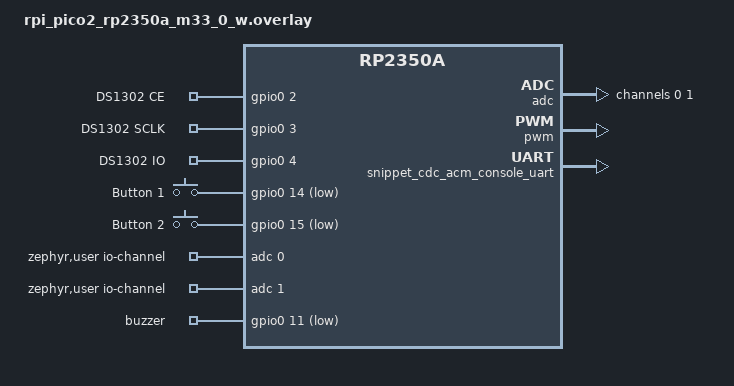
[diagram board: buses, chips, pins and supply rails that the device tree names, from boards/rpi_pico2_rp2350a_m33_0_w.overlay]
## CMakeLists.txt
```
#pico-zephyr-project
#-------------------------------------------------------------------------------
# Zephyr Example Application
#
# Copyright (c) 2021 Nordic Semiconductor ASA
# SPDX-License-Identifier: Apache-2.0
#-------------------------------------------------------------------------------
# NOTE: Please do not remove the #pico-zephyr-project header, it is used by
# the Raspberry Pi Pico VS Code extension to identify the project type.
#-------------------------------------------------------------------------------

cmake_minimum_required(VERSION 3.20.0)

find_package(Zephyr REQUIRED HINTS $ENV{ZEPHYR_BASE})
project(pico-clock LANGUAGES C)

target_sources(app PRIVATE
    src/main.c
    src/aip33628.c
    src/buttons.c
    src/ds1302.c
    src/hu058.c
    src/lightsensor.c
    src/settings.c
    src/speaker.c
    src/thermistor.c
)

target_sources_ifdef(CONFIG_WIFI app PRIVATE
    src/ntp.c
    src/wifista.c
    src/wifisetup.c
    src/httpserver.c
    src/webconfig.c
)
```

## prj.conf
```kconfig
CONFIG_GPIO=y
CONFIG_ADC=y
CONFIG_PWM=y
CONFIG_PICOLIBC=y

# Shell over USB serial (disabled during debug)
# CONFIG_SHELL=y
# CONFIG_SHELL_BACKEND_SERIAL=y

# Logging — console is USB CDC ACM (build with -S cdc-acm-console).
# Deferred mode buffers log lines so a slow or absent host doesn't drop them.
CONFIG_LOG=y
CONFIG_LOG_MODE_DEFERRED=y
CONFIG_LOG_BUFFER_SIZE=4096
CONFIG_LOG_PROCESS_THREAD=y
CONFIG_LOG_PRINTK=n
CONFIG_LOG_BACKEND_UART=y
CONFIG_UART_CONSOLE=y
CONFIG_CONSOLE=y
CONFIG_UART_LINE_CTRL=y

# WiFi (Infineon CYW43439 / Murata 1YN on Pico W / Pico 2 W)
CONFIG_WIFI=y
CONFIG_WIFI_AIROC=y
CONFIG_CYW43439_MURATA_1YN=y
CONFIG_NET_L2_WIFI_MGMT=y

# Networking
CONFIG_NETWORKING=y
CONFIG_NET_SOCKETS=y
CONFIG_NET_IPV4=y
CONFIG_NET_UDP=y
CONFIG_NET_TCP=y
CONFIG_NET_DHCPV4=y
CONFIG_NET_CONFIG_SETTINGS=y
CONFIG_DNS_RESOLVER=y
CONFIG_SNTP=y
CONFIG_TEST_RANDOM_GENERATOR=y

# Console input for WiFi setup — uses uart_poll_in() directly

CONFIG_THREAD_CUSTOM_DATA=y

# Stack sizes — defaults are too small for WiFi + networking + shell
CONFIG_MAIN_STACK_SIZE=4096
CONFIG_SYSTEM_WORKQUEUE_STACK_SIZE=2048

# main() waits up to CONSOLE_WAIT_MS for a host to open the USB console

# Debug — fault diagnostics
CONFIG_THREAD_NAME=y
CONFIG_FAULT_DUMP=2

# NVS storage
CONFIG_FLASH=y
CONFIG_FLASH_MAP=y
CONFIG_FLASH_PAGE_LAYOUT=y
CONFIG_NVS=y
```

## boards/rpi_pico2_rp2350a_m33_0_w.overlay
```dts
/*
 * HU-058 clock — Pico 2 W devicetree overlay.
 *
 * PIO pins (AiP33628 DIN/CLK) are configured at runtime via
 * pico-sdk PIO API, not devicetree.
 */

/ {
	ds1302 {
		compatible = "gpio-keys";
		ce: ce_pin {
			gpios = <&gpio0 2 GPIO_ACTIVE_HIGH>;
			label = "DS1302 CE";
		};
		sclk: sclk_pin {
			gpios = <&gpio0 3 GPIO_ACTIVE_HIGH>;
			label = "DS1302 SCLK";
		};
		io: io_pin {
			gpios = <&gpio0 4 GPIO_ACTIVE_HIGH>;
			label = "DS1302 IO";
		};
	};

	buttons {
		compatible = "gpio-keys";
		btn1: button_1 {
			gpios = <&gpio0 14 (GPIO_PULL_UP | GPIO_ACTIVE_LOW)>;
			label = "Button 1";
		};
		btn2: button_2 {
			gpios = <&gpio0 15 (GPIO_PULL_UP | GPIO_ACTIVE_LOW)>;
			label = "Button 2";
		};
	};

	zephyr,user {
		io-channels = <&adc 0>, <&adc 1>;
	};

	buzzer_dev {
		compatible = "gpio-leds";
		buzzer: buzzer_pin {
			gpios = <&gpio0 11 GPIO_ACTIVE_LOW>;
		};
	};

	aliases {
		ds1302-ce = &ce;
		ds1302-sclk = &sclk;
		ds1302-io = &io;
		button1 = &btn1;
		button2 = &btn2;
	};
};


&adc {
	#address-cells = <1>;
	#size-cells = <0>;
	status = "okay";

	/* Thermistor on ADC channel 0 (GP26) */
	channel@0 {
		reg = <0>;
		zephyr,gain = "ADC_GAIN_1";
		zephyr,reference = "ADC_REF_INTERNAL";
		zephyr,acquisition-time = <ADC_ACQ_TIME_DEFAULT>;
		zephyr,resolution = <12>;
	};

	/* Light sensor on ADC channel 1 (GP27) */
	channel@1 {
		reg = <1>;
		zephyr,gain = "ADC_GAIN_1";
		zephyr,reference = "ADC_REF_INTERNAL";
		zephyr,acquisition-time = <ADC_ACQ_TIME_DEFAULT>;
		zephyr,resolution = <12>;
	};
};

&pwm {
	status = "okay";
	pinctrl-0 = <&pwm_ch4b_default>;
	pinctrl-names = "default";
};

&zephyr_udc0 {
	snippet_cdc_acm_console_uart: snippet_cdc_acm_console_uart {
		compatible = "zephyr,cdc-acm-uart";
		tx-fifo-size = <4096>;
	};
};

/* NVS storage partition — 24 KB at end of 4 MB flash */
&flash0 {
	partitions {
		compatible = "fixed-partitions";
		#address-cells = <1>;
		#size-cells = <1>;

		storage_partition: partition@3fa000 {
			label = "storage";
			reg = <0x3fa000 0x6000>;
		};
	};
};
```

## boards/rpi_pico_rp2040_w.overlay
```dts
/*
 * HU-058 clock — Pico W devicetree overlay.
 *
 * PIO pins (AiP33628 DIN/CLK) are configured at runtime via
 * pico-sdk PIO API, not devicetree.
 */

/ {
	ds1302 {
		compatible = "gpio-keys";
		ce: ce_pin {
			gpios = <&gpio0 2 GPIO_ACTIVE_HIGH>;
			label = "DS1302 CE";
		};
		sclk: sclk_pin {
			gpios = <&gpio0 3 GPIO_ACTIVE_HIGH>;
			label = "DS1302 SCLK";
		};
		io: io_pin {
			gpios = <&gpio0 4 GPIO_ACTIVE_HIGH>;
			label = "DS1302 IO";
		};
	};

	buttons {
		compatible = "gpio-keys";
		btn1: button_1 {
			gpios = <&gpio0 14 (GPIO_PULL_UP | GPIO_ACTIVE_LOW)>;
			label = "Button 1";
		};
		btn2: button_2 {
			gpios = <&gpio0 15 (GPIO_PULL_UP | GPIO_ACTIVE_LOW)>;
			label = "Button 2";
		};
	};

	zephyr,user {
		io-channels = <&adc 0>, <&adc 1>;
	};

	buzzer_dev {
		compatible = "gpio-leds";
		buzzer: buzzer_pin {
			gpios = <&gpio0 11 GPIO_ACTIVE_LOW>;
		};
	};

	aliases {
		ds1302-ce = &ce;
		ds1302-sclk = &sclk;
		ds1302-io = &io;
		button1 = &btn1;
		button2 = &btn2;
	};
};


&adc {
	#address-cells = <1>;
	#size-cells = <0>;
	status = "okay";

	/* Thermistor on ADC channel 0 (GP26) */
	channel@0 {
		reg = <0>;
		zephyr,gain = "ADC_GAIN_1";
		zephyr,reference = "ADC_REF_INTERNAL";
		zephyr,acquisition-time = <ADC_ACQ_TIME_DEFAULT>;
		zephyr,resolution = <12>;
	};

	/* Light sensor on ADC channel 1 (GP27) */
	channel@1 {
		reg = <1>;
		zephyr,gain = "ADC_GAIN_1";
		zephyr,reference = "ADC_REF_INTERNAL";
		zephyr,acquisition-time = <ADC_ACQ_TIME_DEFAULT>;
		zephyr,resolution = <12>;
	};
};

&pwm {
	status = "okay";
	pinctrl-0 = <&pwm_ch4b_default>;
	pinctrl-names = "default";
};

&zephyr_udc0 {
	snippet_cdc_acm_console_uart: snippet_cdc_acm_console_uart {
		compatible = "zephyr,cdc-acm-uart";
		tx-fifo-size = <4096>;
	};
};

/* NVS storage partition — 24 KB at end of 2 MB flash */
&flash0 {
	partitions {
		compatible = "fixed-partitions";
		#address-cells = <1>;
		#size-cells = <1>;

		storage_partition: partition@1fa000 {
			label = "storage";
			reg = <0x1fa000 0x6000>;
		};
	};
};
```

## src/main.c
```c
#include <zephyr/kernel.h>
#include <zephyr/sys/printk.h>
#include <zephyr/logging/log.h>
#include <zephyr/drivers/gpio.h>
#include <zephyr/drivers/uart.h>

#include "settings.h"
#include "ds1302.h"
#include "hu058.h"
#include "aip33628.h"
#include "thermistor.h"
#include "lightsensor.h"
#include "speaker.h"
#include "buttons.h"
#include <pico/bootrom.h>
#if IS_ENABLED(CONFIG_WIFI)
#include "ntp.h"
#include "wifista.h"
#include "wifisetup.h"
#include "webconfig.h"
#include <zephyr/net/net_if.h>
#include <zephyr/net/net_ip.h>
#endif

LOG_MODULE_REGISTER(main, LOG_LEVEL_INF);

/* PIO pin assignments for the two AiP33628 LED drivers. */
#define AIP_HOURS_DIN   6
#define AIP_HOURS_CLK   7
#define AIP_MINUTES_DIN 8
#define AIP_MINUTES_CLK 9
#define AIP_PIO_FREQ_HZ 1000000

/* How long to wait at boot for a host to open the USB CDC console. */
#define CONSOLE_WAIT_MS 3000

/* ADC channel specs from devicetree (zephyr,user node). */
static const struct adc_dt_spec adc_therm = ADC_DT_SPEC_GET_BY_IDX(DT_PATH(zephyr_user), 0);
static const struct adc_dt_spec adc_light = ADC_DT_SPEC_GET_BY_IDX(DT_PATH(zephyr_user), 1);

/* Peripheral instances. */
static ds1302_t rtc = {
	.ce   = GPIO_DT_SPEC_GET(DT_ALIAS(ds1302_ce),   gpios),
	.sclk = GPIO_DT_SPEC_GET(DT_ALIAS(ds1302_sclk), gpios),
	.io   = GPIO_DT_SPEC_GET(DT_ALIAS(ds1302_io),   gpios),
};

static thermistor_config_t therm_cfg = {
	.r_pullup  = 10000.0f,
	.r_nominal = 10000.0f,
	.t_nominal = 25.0f,
	.beta      = 3950.0f,
};

static lightsensor_config_t light_cfg = {
	.r_pullup = 10000.0f,
};

static speaker_t speaker = {
	.gpio = GPIO_DT_SPEC_GET(DT_NODELABEL(buzzer), gpios),
};

static const buttons_config_t btn_cfg = {
	.btn1 = GPIO_DT_SPEC_GET(DT_ALIAS(button1), gpios),
	.btn2 = GPIO_DT_SPEC_GET(DT_ALIAS(button2), gpios),
};

static aip33628_t drv_hours;
static aip33628_t drv_minutes;
static hu058_display_t display;

static settings_t settings;

/* Display scan timer — four phases at ~1.6 kHz = 400 Hz refresh. */
static void scan_timer_handler(struct k_timer *timer);
K_TIMER_DEFINE(scan_timer, scan_timer_handler, NULL);

static void scan_timer_handler(struct k_timer *timer)
{
	ARG_UNUSED(timer);
	hu058_scan_step(&display);
}

#if IS_ENABLED(CONFIG_WIFI)
static volatile bool wifi_reconfig_requested;
#endif
static volatile bool show_temp;

static void on_button(button_event_t event)
{
	switch (event) {
	case BUTTON_1_PRESS:
		LOG_INF("Button 1 pressed");
		break;
	case BUTTON_1_HELD:
		LOG_INF("Button 1 held");
#if IS_ENABLED(CONFIG_WIFI)
		wifi_reconfig_requested = true;
#endif
		break;
	case BUTTON_2_PRESS:
		LOG_INF("Button 2 pressed");
		show_temp = !show_temp;
		break;
	case BUTTON_BOTH_HELD:
		k_timer_stop(&scan_timer);
		for (int i = 0; i < HU058_NUM_DIGITS; i++) {
			hu058_set_digit_color(&display, i, HU058_COLOR_RED);
		}
		for (int i = 0; i < HU058_NUM_ANN; i++) {
			hu058_set_ann_color(&display, i, HU058_COLOR_RED);
		}
		hu058_set_segments(&display, HU058_H_TENS,
				   HU058_SEG_C | HU058_SEG_D | HU058_SEG_E |
				   HU058_SEG_F | HU058_SEG_G);
		hu058_set_segments(&display, HU058_H_ONES,
				   HU058_SEG_C | HU058_SEG_D | HU058_SEG_E |
				   HU058_SEG_G);
		hu058_set_segments(&display, HU058_M_TENS,
				   HU058_SEG_C | HU058_SEG_D | HU058_SEG_E |
				   HU058_SEG_G);
		hu058_set_segments(&display, HU058_M_ONES,
				   HU058_SEG_D | HU058_SEG_E | HU058_SEG_F |
				   HU058_SEG_G);
		hu058_set_ann(&display, HU058_ANN_COLON_UPPER, false);
		hu058_set_ann(&display, HU058_ANN_COLON_LOWER, false);
		hu058_compile(&display);
		/* Manually drive the display — scan timer ISR can't fire
		   while we're already in ISR context. */
		for (int rep = 0; rep < 320; rep++) {
			hu058_scan_step(&display);
			k_busy_wait(625);
		}
		reset_usb_boot(0, 0);
		break;
	default:
		break;
	}
}

#if IS_ENABLED(CONFIG_WIFI)
static bool wait_for_dhcp(int timeout_sec)
{
	struct net_if *iface = net_if_get_default();

	for (int i = 0; i < timeout_sec * 10; i++) {
		struct net_in_addr *addr =
			net_if_ipv4_get_global_addr(iface, NET_ADDR_PREFERRED);
		if (addr) {
			printk("IP: %u.%u.%u.%u\n",
			       addr->s4_addr[0], addr->s4_addr[1],
			       addr->s4_addr[2], addr->s4_addr[3]);
			return true;
		}
		k_msleep(100);
	}
	return false;
}

static void apply_display_settings(hu058_display_t *disp, const settings_t *s)
{
	hu058_set_brightness(disp, s->brightness);
	hu058_set_time_format(disp, s->time_24h ? HU058_24H : HU058_12H);

	hu058_color_t color = {
		.r = s->led_r,
		.g = s->led_g,
		.b = s->led_b,
	};
	for (int i = 0; i < HU058_NUM_DIGITS; i++) {
		hu058_set_digit_color(disp, i, color);
	}
	for (int i = 0; i < HU058_NUM_ANN; i++) {
		hu058_set_ann_color(disp, i, color);
	}
}

static void on_settings_saved(const settings_t *s)
{
	settings_save(s);
	apply_display_settings(&display, s);
	hu058_compile(&display);
	printk("Settings saved via web UI\n");
}

static void wifi_connect_and_sync(settings_t *s, ds1302_t *rtc_dev)
{
	int ret;

	if (s->wifi_ssid[0] != '\0') {
		printk("Connecting to %s...\n", s->wifi_ssid);
		ret = wifista_connect(s->wifi_ssid, s->wifi_pass);
		if (ret == 0) {
			printk("Connected!\n");
		} else {
			printk("Failed (%d). Starting WiFi setup.\n", ret);
			wifisetup_run(s);
		}
	} else {
		wifisetup_run(s);
	}

	printk("Waiting for DHCP...\n");
	if (!wait_for_dhcp(15)) {
		printk("DHCP timed out.\n");
		return;
	}

	const char *ntp_srv = s->ntp_server[0] ? s->ntp_server : "pool.ntp.org";
	ntp_config_t ntp_cfg = {
		.server = ntp_srv,
		.utc_offset_sec = s->utc_offset_sec,
		.timeout_ms = 5000,
	};
	ds1302_time_t ntp_time;

	printk("Syncing time from %s...\n", ntp_srv);
	ret = ntp_sync(&ntp_cfg, &ntp_time);
	if (ret == 0) {
		ds1302_set_time(rtc_dev, &ntp_time);
		printk("Time set: %02u:%02u:%02u\n",
		       ntp_time.hours, ntp_time.minutes, ntp_time.seconds);
	} else {
		printk("NTP sync failed (%d), using RTC time.\n", ret);
	}

	ret = webconfig_start(s, on_settings_saved);
	if (ret == 0) {
		struct net_in_addr *addr =
			net_if_ipv4_get_global_addr(net_if_get_default(),
						    NET_ADDR_PREFERRED);
		if (addr) {
			printk("Settings: http://%u.%u.%u.%u/\n",
			       addr->s4_addr[0], addr->s4_addr[1],
			       addr->s4_addr[2], addr->s4_addr[3]);
		}
	} else {
		printk("Web config failed (%d)\n", ret);
	}
}
#endif

/*
 * Wait for a host to open the USB CDC console (DTR asserted) so boot logs
 * aren't lost. Gives up after CONSOLE_WAIT_MS so the clock still runs
 * standalone.
 */
static void wait_for_console(void)
{
	const struct device *console = DEVICE_DT_GET(DT_CHOSEN(zephyr_console));
	uint32_t dtr = 0;

	if (!device_is_ready(console)) {
		return;
	}

	for (int ms = 0; ms < CONSOLE_WAIT_MS; ms += 100) {
		if (uart_line_ctrl_get(console, UART_LINE_CTRL_DTR, &dtr) == 0 && dtr) {
			k_msleep(200);
			break;
		}
		k_msleep(100);
	}
}

int main(void)
{
	int ret;

	wait_for_console();

	printk("[main] settings_load\n");
	ret = settings_load(&settings);
	if (ret < 0) {
		printk("[main] No saved settings, using defaults\n");
	}

	printk("[main] ds1302_init\n");
	ret = ds1302_init(&rtc);
	if (ret < 0) {
		printk("[main] ds1302_init failed: %d\n", ret);
	}

	therm_cfg.adc = adc_therm;
	light_cfg.adc = adc_light;
	printk("[main] thermistor_init\n");
	ret = thermistor_init(&therm_cfg);
	if (ret < 0) {
		printk("[main] thermistor_init failed: %d\n", ret);
	}

	printk("[main] lightsensor_init\n");
	ret = lightsensor_init(&light_cfg);
	if (ret < 0) {
		printk("[main] lightsensor_init failed: %d\n", ret);
	}

	printk("[main] speaker_init\n");
	ret = speaker_init(&speaker);
	if (ret < 0) {
		printk("[main] speaker_init failed: %d\n", ret);
	}

	printk("[main] buttons_init\n");
	ret = buttons_init(&btn_cfg, on_button);
	if (ret < 0) {
		printk("[main] buttons_init failed: %d\n", ret);
	}

	printk("[main] aip33628_init hours\n");
	ret = aip33628_init(&drv_hours, pio1, 0,
			    AIP_HOURS_DIN, AIP_HOURS_CLK, AIP_PIO_FREQ_HZ);
	if (ret < 0) {
		LOG_ERR("aip33628_init hours failed: %d", ret);
	}

	printk("[main] aip33628_init minutes\n");
	ret = aip33628_init(&drv_minutes, pio1, 1,
			    AIP_MINUTES_DIN, AIP_MINUTES_CLK, AIP_PIO_FREQ_HZ);
	if (ret < 0) {
		printk("[main] aip33628_init minutes failed: %d\n", ret);
	}

	printk("[main] lamp test start\n");
	for (int rep = 0; rep < 3000; rep++) {
		for (int phase = 0; phase < 4; phase++) {
			static const uint8_t com_test[4] = {0x03, 0x0C, 0x30, 0xC0};
			aip33628_write(&drv_hours, 0x9248, com_test[phase], 5);
			aip33628_write(&drv_minutes, 0x9248, com_test[phase], 5);
			k_usleep(625);
		}
	}
	printk("[main] lamp test end\n");

	hu058_init(&display, &drv_hours, &drv_minutes);
	apply_display_settings(&display, &settings);

	ds1302_time_t now;
	ds1302_get_time(&rtc, &now);
	hu058_set_time(&display, now.hours, now.minutes);
	hu058_set_ann(&display, HU058_ANN_COLON_UPPER, true);
	hu058_set_ann(&display, HU058_ANN_COLON_LOWER, true);
	hu058_compile(&display);

	k_timer_start(&scan_timer, K_USEC(625), K_USEC(625));

	printk("[main] display ready\n");

#if IS_ENABLED(CONFIG_WIFI)
	printk("[main] wifi_connect_and_sync\n");
	wifi_connect_and_sync(&settings, &rtc);
	printk("[main] wifi done\n");
#endif

	speaker_beep(&speaker, 1000, 100);

	printk("[main] entering main loop\n");

	while (1) {
#if IS_ENABLED(CONFIG_WIFI)
		if (wifi_reconfig_requested) {
			wifi_reconfig_requested = false;
			webconfig_stop();
			wifista_disconnect();
			settings.wifi_ssid[0] = '\0';
			settings.wifi_pass[0] = '\0';
			wifi_connect_and_sync(&settings, &rtc);
		}
#endif
		if (show_temp) {
			float temp_c = thermistor_read_c(&therm_cfg);
			temp_c += (float)settings.temp_offset_tenths / 10.0f;
			int16_t temp_val;
			if (settings.fahrenheit) {
				temp_val = (int16_t)(temp_c * 9.0f / 5.0f + 32.0f + 0.5f);
			} else {
				temp_val = (int16_t)(temp_c + (temp_c >= 0 ? 0.5f : -0.5f));
			}
			hu058_set_temperature(&display, temp_val, settings.fahrenheit);
		} else {
			ds1302_get_time(&rtc, &now);
			hu058_set_time(&display, now.hours, now.minutes);
		}

		hu058_compile(&display);

		k_sleep(K_SECONDS(1));
	}

	return 0;
}
```

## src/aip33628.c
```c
#include "aip33628.h"
#include "aip33628.pio.h"
#include "hardware/pio.h"

/**
 * Reverse the bottom @n bits of @v.
 * Bits above position n-1 in the result are zero.
 */
static uint32_t reverse_bits(uint32_t v, uint n)
{
    uint32_t r = 0;
    for (uint i = 0; i < n; i++) {
        r |= ((v >> i) & 1u) << (n - 1 - i);
    }
    return r;
}

/**
 * Reverse the 4-bit current field per the AiP33628 datasheet.
 * Logical level 1 → wire value 0x8, level 2 → 0x4, etc.
 */
static uint8_t reverse_current(uint8_t current)
{
    return (uint8_t)reverse_bits(current & 0x0Fu, 4);
}

int aip33628_init(aip33628_t *dev, PIO pio, uint sm,
                  uint pin_din, uint pin_clk, float freq_hz)
{
    if (!pio_can_add_program(pio, &aip33628_program))
        return -1;

    uint offset = pio_add_program(pio, &aip33628_program);
    aip33628_program_init(pio, sm, offset, pin_din, pin_clk, freq_hz);

    dev->pio = pio;
    dev->sm  = sm;

    return 0;
}

void aip33628_write(aip33628_t *dev, uint16_t segments,
                    uint8_t commons, uint8_t current)
{
    /*
     * Pack the 30-bit frame in the spec's LSB-first layout:
     *
     *   Bit  0-15  SS[15:0]  segment on/off
     *   Bit 16-23  CS[7:0]   common anode drivers
     *   Bit 24-27  IS[3:0]   current level (bit-reversed on wire)
     *   Bit 28-29  reserved  must be 0
     */
    uint32_t frame = (uint32_t)(segments & 0xFFFFu)
                   | ((uint32_t)(commons & 0xFFu) << 16)
                   | ((uint32_t)reverse_current(current) << 24);

    aip33628_write_raw(dev, frame);
}

void aip33628_write_raw(aip33628_t *dev, uint32_t frame)
{
    uint32_t word = reverse_bits(frame & 0x3FFFFFFFu, 30);
    if (!pio_sm_is_tx_fifo_full(dev->pio, dev->sm)) {
        pio_sm_put(dev->pio, dev->sm, word);
    }
}
```

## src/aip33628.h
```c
#ifndef AIP33628_H
#define AIP33628_H

#include <stdint.h>
#include "hardware/pio.h"

/**
 * AiP33628 driver instance.
 *
 * Each instance owns one PIO state machine and drives one AiP33628 chip
 * over two GPIO pins (DIN and CLK).
 */
typedef struct {
    PIO pio;
    uint sm;
} aip33628_t;

/**
 * aip33628_init - Set up a PIO state machine to drive an AiP33628.
 *
 * @dev:      Driver instance to initialise.
 * @pio:      PIO block (pio0 or pio1).
 * @sm:       State machine index (0-3).
 * @pin_din:  GPIO number for the data line (DIN).
 * @pin_clk:  GPIO number for the clock line (CLK).
 * @freq_hz:  PIO clock frequency in Hz.
 *            Minimum ~30 kHz (display flicker).
 *            Maximum ~3 MHz (latch reliability).
 *
 * @return 0 on success, -1 if the PIO program could not be loaded.
 *
 * The function loads the PIO program, configures the state machine for
 * MSB-first output with 1-bit side-set, and starts the state machine.
 * After init the state machine idles waiting for data in the TX FIFO.
 *
 * Call this at least 200 us after chip power-on (AiP33628 ignores
 * data during its internal reset window).
 */
int aip33628_init(aip33628_t *dev, PIO pio, uint sm,
                  uint pin_din, uint pin_clk, float freq_hz);

/**
 * aip33628_write - Send a display frame to the AiP33628.
 *
 * @dev:      Initialised driver instance.
 * @segments: SEG outputs SS[15:0] — one bit per segment pin.
 * @commons:  COM anode drivers CS[7:0] — one bit per common pin.
 * @current:  LED drive current level 0-15 (0 = off, 15 = max).
 *
 * Packs the three fields into the AiP33628's 30-bit frame format,
 * reverses the bit order from the spec's LSB-first layout to the
 * MSB-first order required by the PIO program, and writes the
 * resulting 32-bit word to the TX FIFO.
 *
 * The current level is internally bit-reversed per the AiP33628
 * datasheet (IS[3:0] uses reverse-bit mapping on the wire).
 *
 * This call blocks if the TX FIFO is full.
 *
 * The segments parameter maps directly to the AiP33628's 16 SEG
 * output pins (SS[15:0]).  The commons parameter maps to the 8 COM
 * output pins (CS[7:0]).  How these pins are wired on a particular
 * PCB is board-specific — see hu058.h for the HU-058 clock board.
 */
void aip33628_write(aip33628_t *dev, uint16_t segments,
                    uint8_t commons, uint8_t current);

/**
 * aip33628_write_raw - Send a pre-packed 30-bit frame.
 *
 * @dev:    Initialised driver instance.
 * @frame:  30-bit frame in AiP33628 wire order (LSB-first layout,
 *          bits 31-30 ignored). The function handles the MSB-first
 *          reversal for the PIO.
 *
 * Use this when you have already packed the segment, common, and
 * current fields yourself. Blocks if the TX FIFO is full.
 */
void aip33628_write_raw(aip33628_t *dev, uint32_t frame);

#endif
```

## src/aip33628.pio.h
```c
/*
 * Auto-generated from aip33628.pio -- hand-assembled for use without pioasm.
 */

#pragma once

#if !PICO_NO_HARDWARE
#include "hardware/pio.h"
#endif

#define aip33628_wrap_target 0
#define aip33628_wrap 12

static const uint16_t aip33628_program_instructions[] = {
    0x88a0, /*  0: pull   block           side 0 [8] */
    0xe101, /*  1: set    pins, 1         side 0 [1] */
    0xe000, /*  2: set    pins, 0         side 0     */
    0x6042, /*  3: out    y, 2            side 0     */
    0xe05d, /*  4: set    y, 29           side 0     */
    0xa042, /*  5: nop                    side 0     */
    0x6001, /*  6: out    pins, 1         side 0     */
    0xb042, /*  7: nop                    side 1     */
    0x1085, /*  8: jmp    y--, 5          side 1     */
    0xf400, /*  9: set    pins, 0         side 1 [4] */
    0xf101, /* 10: set    pins, 1         side 1 [1] */
    0xf000, /* 11: set    pins, 0         side 1     */
    0xa042, /* 12: nop                    side 0     */
};

#if !PICO_NO_HARDWARE
static const struct pio_program aip33628_program = {
    .instructions = aip33628_program_instructions,
    .length = 13,
    .origin = -1,
};

static inline pio_sm_config aip33628_program_get_default_config(uint offset) {
    pio_sm_config c = pio_get_default_sm_config();
    sm_config_set_wrap(&c, offset + aip33628_wrap_target,
                       offset + aip33628_wrap);
    sm_config_set_sideset(&c, 1, false, false);
    return c;
}

#include "hardware/clocks.h"

static inline void aip33628_program_init(PIO pio, uint sm, uint offset,
                                         uint pin_din, uint pin_clk,
                                         float freq_hz) {
    pio_sm_config c = aip33628_program_get_default_config(offset);

    sm_config_set_set_pins(&c, pin_din, 1);
    sm_config_set_out_pins(&c, pin_din, 1);
    pio_gpio_init(pio, pin_din);
    pio_sm_set_consecutive_pindirs(pio, sm, pin_din, 1, true);

    sm_config_set_sideset_pins(&c, pin_clk);
    pio_gpio_init(pio, pin_clk);
    pio_sm_set_consecutive_pindirs(pio, sm, pin_clk, 1, true);

    sm_config_set_out_shift(&c, false, false, 32);

    float div = (float)clock_get_hz(clk_sys) / freq_hz;
    sm_config_set_clkdiv(&c, div);

    pio_sm_init(pio, sm, offset, &c);
    pio_sm_set_enabled(pio, sm, true);
}
#endif
```

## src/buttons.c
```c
#include "buttons.h"

#include <zephyr/kernel.h>

#define POLL_INTERVAL_MS  20
#define DEBOUNCE_SAMPLES  3
#define BOTH_HELD_TICKS   (2000 / POLL_INTERVAL_MS)

static const buttons_config_t *hw;
static button_callback_t cb;

static uint8_t raw1_hist;
static uint8_t raw2_hist;
static bool stable1;
static bool stable2;
static uint32_t both_held_ticks;
static bool both_held_fired;
static uint32_t btn1_held_ticks;
static bool btn1_held_fired;

static struct k_timer poll_timer;

static bool debounce(uint8_t *hist, bool sample)
{
    *hist = ((*hist << 1) | (sample ? 1 : 0)) & ((1 << DEBOUNCE_SAMPLES) - 1);
    uint8_t mask = (1 << DEBOUNCE_SAMPLES) - 1;
    if (*hist == mask) return true;
    if (*hist == 0)    return false;
    return sample;
}

static void poll_handler(struct k_timer *timer)
{
    ARG_UNUSED(timer);

    bool s1 = gpio_pin_get_dt(&hw->btn1) != 0;
    bool s2 = gpio_pin_get_dt(&hw->btn2) != 0;

    bool new1 = debounce(&raw1_hist, s1);
    bool new2 = debounce(&raw2_hist, s2);

    if (new1 != stable1) {
        stable1 = new1;
        if (cb) cb(new1 ? BUTTON_1_PRESS : BUTTON_1_RELEASE);
    }

    if (new2 != stable2) {
        stable2 = new2;
        if (cb) cb(new2 ? BUTTON_2_PRESS : BUTTON_2_RELEASE);
    }

    if (stable1 && stable2) {
        both_held_ticks++;
        if (both_held_ticks >= BOTH_HELD_TICKS && !both_held_fired) {
            both_held_fired = true;
            if (cb) cb(BUTTON_BOTH_HELD);
        }
        btn1_held_ticks = 0;
        btn1_held_fired = false;
    } else {
        both_held_ticks = 0;
        both_held_fired = false;
        if (stable1 && !stable2) {
            btn1_held_ticks++;
            if (btn1_held_ticks >= BOTH_HELD_TICKS && !btn1_held_fired) {
                btn1_held_fired = true;
                if (cb) cb(BUTTON_1_HELD);
            }
        } else {
            btn1_held_ticks = 0;
            btn1_held_fired = false;
        }
    }
}

int buttons_init(const buttons_config_t *cfg, button_callback_t callback)
{
    hw = cfg;
    cb = callback;

    if (!gpio_is_ready_dt(&hw->btn1) || !gpio_is_ready_dt(&hw->btn2)) {
        return -ENODEV;
    }

    int ret = gpio_pin_configure_dt(&hw->btn1, GPIO_INPUT);
    if (ret < 0) return ret;

    ret = gpio_pin_configure_dt(&hw->btn2, GPIO_INPUT);
    if (ret < 0) return ret;

    raw1_hist = 0;
    raw2_hist = 0;
    stable1 = false;
    stable2 = false;
    both_held_ticks = 0;
    both_held_fired = false;
    btn1_held_ticks = 0;
    btn1_held_fired = false;

    k_timer_init(&poll_timer, poll_handler, NULL);
    k_timer_start(&poll_timer, K_MSEC(POLL_INTERVAL_MS),
                  K_MSEC(POLL_INTERVAL_MS));

    return 0;
}

void buttons_stop(void)
{
    k_timer_stop(&poll_timer);
    cb = NULL;
}
```

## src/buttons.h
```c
#ifndef BUTTONS_H
#define BUTTONS_H

#include <zephyr/drivers/gpio.h>

typedef enum {
    BUTTON_1_PRESS,
    BUTTON_1_RELEASE,
    BUTTON_2_PRESS,
    BUTTON_2_RELEASE,
    BUTTON_1_HELD,
    BUTTON_BOTH_HELD,
} button_event_t;

typedef void (*button_callback_t)(button_event_t event);

typedef struct {
    struct gpio_dt_spec btn1;
    struct gpio_dt_spec btn2;
} buttons_config_t;

int buttons_init(const buttons_config_t *cfg, button_callback_t callback);
void buttons_stop(void);

#endif
```

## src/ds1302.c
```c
#include "ds1302.h"
#include <zephyr/kernel.h>

#define CMD_READ      0x01
#define CMD_WRITE     0x00
#define CMD_CLOCK     0x00
#define CMD_RAM       0x40

#define REG_SECONDS   0
#define REG_MINUTES   1
#define REG_HOURS     2
#define REG_DAY       3
#define REG_MONTH     4
#define REG_WEEKDAY   5
#define REG_YEAR      6
#define REG_WP        7

#define CMD_BURST_READ   0xBF
#define CMD_BURST_WRITE  0xBE
#define CMD_WP_WRITE     0x8E

#define DELAY_US 2

static uint8_t bcd_to_bin(uint8_t bcd)
{
    return (bcd >> 4) * 10 + (bcd & 0x0F);
}

static uint8_t bin_to_bcd(uint8_t bin)
{
    return ((bin / 10) << 4) | (bin % 10);
}

static uint8_t make_cmd(uint8_t reg, bool ram, bool read)
{
    return 0x80 | (ram ? CMD_RAM : CMD_CLOCK) | (reg << 1) | (read ? CMD_READ : CMD_WRITE);
}

static void io_output(ds1302_t *dev)
{
    gpio_pin_configure_dt(&dev->io, GPIO_OUTPUT_LOW);
}

static void io_input(ds1302_t *dev)
{
    gpio_pin_configure_dt(&dev->io, GPIO_INPUT);
}

static void write_byte(ds1302_t *dev, uint8_t val)
{
    io_output(dev);
    for (int i = 0; i < 8; i++) {
        gpio_pin_set_dt(&dev->io, (val >> i) & 1);
        k_busy_wait(DELAY_US);
        gpio_pin_set_dt(&dev->sclk, 1);
        k_busy_wait(DELAY_US);
        gpio_pin_set_dt(&dev->sclk, 0);
    }
}

static uint8_t read_byte(ds1302_t *dev)
{
    io_input(dev);
    uint8_t val = 0;
    for (int i = 0; i < 8; i++) {
        val |= (gpio_pin_get_dt(&dev->io) ? 1 : 0) << i;
        k_busy_wait(DELAY_US);
        gpio_pin_set_dt(&dev->sclk, 1);
        k_busy_wait(DELAY_US);
        gpio_pin_set_dt(&dev->sclk, 0);
    }
    return val;
}

static void begin(ds1302_t *dev)
{
    gpio_pin_set_dt(&dev->sclk, 0);
    gpio_pin_set_dt(&dev->ce, 1);
    k_busy_wait(DELAY_US);
}

static void end(ds1302_t *dev)
{
    gpio_pin_set_dt(&dev->ce, 0);
    k_busy_wait(DELAY_US);
    io_output(dev);
    gpio_pin_set_dt(&dev->io, 0);
}

static void write_reg(ds1302_t *dev, uint8_t reg, bool ram, uint8_t data)
{
    begin(dev);
    write_byte(dev, make_cmd(reg, ram, false));
    write_byte(dev, data);
    end(dev);
}

static uint8_t read_reg(ds1302_t *dev, uint8_t reg, bool ram)
{
    begin(dev);
    write_byte(dev, make_cmd(reg, ram, true));
    uint8_t val = read_byte(dev);
    end(dev);
    return val;
}

int ds1302_init(ds1302_t *dev)
{
    int ret;

    ret = gpio_pin_configure_dt(&dev->ce, GPIO_OUTPUT_LOW);
    if (ret < 0) return ret;

    ret = gpio_pin_configure_dt(&dev->sclk, GPIO_OUTPUT_LOW);
    if (ret < 0) return ret;

    ret = gpio_pin_configure_dt(&dev->io, GPIO_OUTPUT_LOW);
    if (ret < 0) return ret;

    ds1302_write_protect(dev, false);

    uint8_t sec = read_reg(dev, REG_SECONDS, false);
    if (sec & 0x80) {
        write_reg(dev, REG_SECONDS, false, sec & 0x7F);
    }

    ds1302_write_protect(dev, true);

    return 0;
}

void ds1302_get_time(ds1302_t *dev, ds1302_time_t *time)
{
    begin(dev);
    write_byte(dev, CMD_BURST_READ);

    uint8_t sec  = read_byte(dev);
    uint8_t min  = read_byte(dev);
    uint8_t hr   = read_byte(dev);
    uint8_t day  = read_byte(dev);
    uint8_t mon  = read_byte(dev);
    uint8_t wday = read_byte(dev);
    uint8_t yr   = read_byte(dev);

    end(dev);

    time->seconds = bcd_to_bin(sec & 0x7F);
    time->minutes = bcd_to_bin(min & 0x7F);
    time->hours   = bcd_to_bin(hr & 0x3F);
    time->day     = bcd_to_bin(day & 0x3F);
    time->month   = bcd_to_bin(mon & 0x1F);
    time->weekday = bcd_to_bin(wday & 0x07);
    time->year    = bcd_to_bin(yr);
}

void ds1302_set_time(ds1302_t *dev, const ds1302_time_t *time)
{
    ds1302_write_protect(dev, false);

    begin(dev);
    write_byte(dev, CMD_BURST_WRITE);

    write_byte(dev, bin_to_bcd(time->seconds) & 0x7F);
    write_byte(dev, bin_to_bcd(time->minutes));
    write_byte(dev, bin_to_bcd(time->hours) & 0x3F);
    write_byte(dev, bin_to_bcd(time->day));
    write_byte(dev, bin_to_bcd(time->month));
    write_byte(dev, bin_to_bcd(time->weekday));
    write_byte(dev, bin_to_bcd(time->year));
    write_byte(dev, 0x80);

    end(dev);
}

void ds1302_write_protect(ds1302_t *dev, bool enable)
{
    begin(dev);
    write_byte(dev, CMD_WP_WRITE);
    write_byte(dev, enable ? 0x80 : 0x00);
    end(dev);
}

uint8_t ds1302_read_ram(ds1302_t *dev, uint8_t addr)
{
    if (addr > 30) addr = 30;
    return read_reg(dev, addr, true);
}

void ds1302_write_ram(ds1302_t *dev, uint8_t addr, uint8_t data)
{
    if (addr > 30) addr = 30;
    ds1302_write_protect(dev, false);
    write_reg(dev, addr, true, data);
    ds1302_write_protect(dev, true);
}
```

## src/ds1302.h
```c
#ifndef DS1302_H
#define DS1302_H

#include <zephyr/drivers/gpio.h>
#include <stdbool.h>
#include <stdint.h>

typedef struct {
    struct gpio_dt_spec ce;
    struct gpio_dt_spec sclk;
    struct gpio_dt_spec io;
} ds1302_t;

typedef struct {
    uint8_t seconds;   /* 0-59 */
    uint8_t minutes;   /* 0-59 */
    uint8_t hours;     /* 0-23 */
    uint8_t day;       /* 1-31 */
    uint8_t month;     /* 1-12 */
    uint8_t weekday;   /* 1-7, 1 = Sunday */
    uint8_t year;      /* 0-99 (offset from 2000) */
} ds1302_time_t;

/*
 * ds1302_init - Initialise GPIOs for the DS1302 3-wire interface.
 *
 * Configures CE and SCLK as outputs (driven low) and I/O as output (low).
 * Clears the clock-halt bit so the oscillator runs.
 *
 * Returns 0 on success, negative errno on GPIO failure.
 */
int ds1302_init(ds1302_t *dev);

/*
 * ds1302_get_time - Read all clock registers via burst read.
 */
void ds1302_get_time(ds1302_t *dev, ds1302_time_t *time);

/*
 * ds1302_set_time - Write all clock registers via burst write.
 *
 * Temporarily disables write-protect, writes seconds through year,
 * then re-enables write-protect.  Hours are stored in 24-hour mode.
 */
void ds1302_set_time(ds1302_t *dev, const ds1302_time_t *time);

/*
 * ds1302_write_protect - Enable or disable the write-protect bit.
 */
void ds1302_write_protect(ds1302_t *dev, bool enable);

/*
 * ds1302_read_ram - Read one byte from the 31-byte battery-backed RAM.
 *
 * @addr: 0-30.
 */
uint8_t ds1302_read_ram(ds1302_t *dev, uint8_t addr);

/*
 * ds1302_write_ram - Write one byte to the 31-byte battery-backed RAM.
 *
 * @addr: 0-30.
 */
void ds1302_write_ram(ds1302_t *dev, uint8_t addr, uint8_t data);

#endif
```

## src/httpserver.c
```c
#include "httpserver.h"

#include <zephyr/kernel.h>
#include <zephyr/net/socket.h>
#include <string.h>
#include <stdlib.h>

#define RECV_BUF_SIZE   1024
#define LISTEN_BACKLOG  1
#define THREAD_STACK_SZ 4096
#define THREAD_PRIO     7

static K_THREAD_STACK_DEFINE(server_stack, THREAD_STACK_SZ);
static struct k_thread server_thread;
static volatile bool running;
static int listen_fd = -1;

static uint16_t server_port;
static http_handler_t request_handler;
static void *handler_data;

int httpserver_send(int client_fd, const char *data, size_t len)
{
    while (len > 0) {
        ssize_t n = zsock_send(client_fd, data, len, 0);
        if (n <= 0) return -1;
        data += n;
        len -= n;
    }
    return 0;
}

static void parse_and_dispatch(int client_fd, char *buf, size_t total)
{
    buf[total] = '\0';

    char method[8] = {0};
    char path[64] = {0};

    char *sp1 = strchr(buf, ' ');
    if (!sp1) return;
    size_t mlen = (size_t)(sp1 - buf);
    if (mlen >= sizeof(method)) mlen = sizeof(method) - 1;
    memcpy(method, buf, mlen);

    char *sp2 = strchr(sp1 + 1, ' ');
    if (!sp2) return;
    size_t plen = (size_t)(sp2 - sp1 - 1);
    if (plen >= sizeof(path)) plen = sizeof(path) - 1;
    memcpy(path, sp1 + 1, plen);

    char *body = strstr(buf, "\r\n\r\n");
    size_t body_len = 0;
    if (body) {
        body += 4;
        body_len = total - (size_t)(body - buf);
    }

    http_request_t req = {
        .method   = method,
        .path     = path,
        .body     = body,
        .body_len = body_len,
    };

    request_handler(client_fd, &req, handler_data);
}

static void handle_connection(int client_fd)
{
    char buf[RECV_BUF_SIZE];
    ssize_t total = 0;

    while (total < (ssize_t)(sizeof(buf) - 1)) {
        ssize_t n = zsock_recv(client_fd, buf + total,
                               sizeof(buf) - 1 - total, 0);
        if (n <= 0) break;
        total += n;
        buf[total] = '\0';
        if (strstr(buf, "\r\n\r\n")) break;
    }

    if (total <= 0) return;

    /* If POST, try to read remaining body per Content-Length */
    if (strncmp(buf, "POST", 4) == 0) {
        char *cl = strstr(buf, "Content-Length:");
        if (!cl) cl = strstr(buf, "content-length:");
        if (cl) {
            int content_len = atoi(cl + 15);
            char *body = strstr(buf, "\r\n\r\n");
            if (body) {
                body += 4;
                int body_so_far = (int)(total - (body - buf));
                while (body_so_far < content_len &&
                       total < (ssize_t)(sizeof(buf) - 1)) {
                    ssize_t n = zsock_recv(client_fd, buf + total,
                                           sizeof(buf) - 1 - total, 0);
                    if (n <= 0) break;
                    total += n;
                    buf[total] = '\0';
                    body_so_far += n;
                }
            }
        }
    }

    parse_and_dispatch(client_fd, buf, (size_t)total);
}

static void server_thread_fn(void *p1, void *p2, void *p3)
{
    ARG_UNUSED(p1);
    ARG_UNUSED(p2);
    ARG_UNUSED(p3);

    struct sockaddr_in addr = {
        .sin_family = AF_INET,
        .sin_port = htons(server_port),
    };
    addr.sin_addr.s_addr = htonl(INADDR_ANY);

    listen_fd = zsock_socket(AF_INET, SOCK_STREAM, IPPROTO_TCP);
    if (listen_fd < 0) return;

    int opt = 1;
    zsock_setsockopt(listen_fd, SOL_SOCKET, SO_REUSEADDR, &opt, sizeof(opt));

    if (zsock_bind(listen_fd, (struct sockaddr *)&addr, sizeof(addr)) < 0) {
        zsock_close(listen_fd);
        listen_fd = -1;
        return;
    }

    if (zsock_listen(listen_fd, LISTEN_BACKLOG) < 0) {
        zsock_close(listen_fd);
        listen_fd = -1;
        return;
    }

    while (running) {
        struct zsock_pollfd pfd = {
            .fd = listen_fd,
            .events = ZSOCK_POLLIN,
        };
        int ret = zsock_poll(&pfd, 1, 1000);
        if (ret <= 0) continue;

        int client = zsock_accept(listen_fd, NULL, NULL);
        if (client < 0) continue;

        handle_connection(client);
        zsock_close(client);
    }

    zsock_close(listen_fd);
    listen_fd = -1;
}

int httpserver_start(uint16_t port, http_handler_t handler, void *user_data)
{
    if (running) return -EALREADY;
    if (!handler) return -EINVAL;

    server_port = port;
    request_handler = handler;
    handler_data = user_data;
    running = true;

    k_thread_create(&server_thread, server_stack,
                    K_THREAD_STACK_SIZEOF(server_stack),
                    server_thread_fn, NULL, NULL, NULL,
                    THREAD_PRIO, 0, K_NO_WAIT);

    return 0;
}

void httpserver_stop(void)
{
    if (!running) return;

    running = false;
    k_thread_join(&server_thread, K_SECONDS(5));
    request_handler = NULL;
    handler_data = NULL;
}
```

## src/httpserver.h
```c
#ifndef HTTPSERVER_H
#define HTTPSERVER_H

#include <stddef.h>
#include <stdint.h>

/*
 * HTTP request passed to the handler callback.
 */
typedef struct {
    const char *method;
    const char *path;
    const char *body;
    size_t body_len;
} http_request_t;

/*
 * Handler callback.
 *
 * Called for each incoming HTTP request.  The handler writes its
 * response by calling httpserver_send() with the client socket fd
 * provided as the first argument.
 */
typedef void (*http_handler_t)(int client_fd, const http_request_t *req,
                               void *user_data);

/*
 * httpserver_start - Start a single-client HTTP listener thread.
 *
 * @port:      TCP port to listen on.
 * @handler:   Callback invoked for every request.
 * @user_data: Opaque pointer forwarded to the handler.
 *
 * Returns 0 on success, negative errno on failure.
 */
int httpserver_start(uint16_t port, http_handler_t handler, void *user_data);

/*
 * httpserver_stop - Stop the listener thread and close the socket.
 */
void httpserver_stop(void);

/*
 * httpserver_send - Send raw bytes on a client connection.
 *
 * Returns 0 on success, -1 on failure.
 */
int httpserver_send(int client_fd, const char *data, size_t len);

#endif
```

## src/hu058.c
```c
#include "hu058.h"
#include <string.h>

/*
 * Seven-segment font: bit 0 = a (top), 1 = b (top-right), 2 = c (bottom-right),
 * 3 = d (bottom), 4 = e (bottom-left), 5 = f (top-left), 6 = g (middle).
 */
static const uint8_t FONT[10] = {
    /* 0 */ HU058_SEG_A | HU058_SEG_B | HU058_SEG_C | HU058_SEG_D |
        HU058_SEG_E | HU058_SEG_F,
    /* 1 */ HU058_SEG_B | HU058_SEG_C,
    /* 2 */ HU058_SEG_A | HU058_SEG_B | HU058_SEG_D | HU058_SEG_E | HU058_SEG_G,
    /* 3 */ HU058_SEG_A | HU058_SEG_B | HU058_SEG_C | HU058_SEG_D | HU058_SEG_G,
    /* 4 */ HU058_SEG_B | HU058_SEG_C | HU058_SEG_F | HU058_SEG_G,
    /* 5 */ HU058_SEG_A | HU058_SEG_C | HU058_SEG_D | HU058_SEG_F | HU058_SEG_G,
    /* 6 */ HU058_SEG_A | HU058_SEG_C | HU058_SEG_D | HU058_SEG_E |
        HU058_SEG_F | HU058_SEG_G,
    /* 7 */ HU058_SEG_A | HU058_SEG_B | HU058_SEG_C,
    /* 8 */ HU058_SEG_A | HU058_SEG_B | HU058_SEG_C | HU058_SEG_D |
        HU058_SEG_E | HU058_SEG_F | HU058_SEG_G,
    /* 9 */ HU058_SEG_A | HU058_SEG_B | HU058_SEG_C | HU058_SEG_D |
        HU058_SEG_F | HU058_SEG_G,
};

#define SEG_LETTER_C (HU058_SEG_A | HU058_SEG_D | HU058_SEG_E | HU058_SEG_F)
#define SEG_LETTER_F (HU058_SEG_A | HU058_SEG_E | HU058_SEG_F | HU058_SEG_G)
#define SEG_MINUS (HU058_SEG_G)
#define SEG_LETTER_B                                                           \
  (HU058_SEG_C | HU058_SEG_D | HU058_SEG_E | HU058_SEG_F | HU058_SEG_G)
#define SEG_LETTER_O (HU058_SEG_C | HU058_SEG_D | HU058_SEG_E | HU058_SEG_G)
#define SEG_LETTER_T (HU058_SEG_D | HU058_SEG_E | HU058_SEG_F | HU058_SEG_G)

/*
 * COM pair values for the four scan phases.
 * Tens digits sit on COM4-7 (0x30 low, 0xC0 high),
 * ones digits on COM0-3 (0x03 low, 0x0C high).
 */
static const uint8_t COM_PAIRS[4] = {0x30, 0xC0, 0x03, 0x0C};

/*
 * SEG bit positions for each LED's R/G/B channels.
 * LED1 = SEG1-3, LED2 = SEG4-6, … LED5 = SEG13-15.
 * Within a triple the order is blue, green, red.
 */
#define LED_B(n) (1u << (((n) - 1) * 3 + 1))
#define LED_G(n) (1u << (((n) - 1) * 3 + 2))
#define LED_R(n) (1u << (((n) - 1) * 3 + 3))

static uint16_t led_bits(int led, hu058_color_t c) {
  uint16_t bits = 0;
  if (c.r)
    bits |= LED_R(led);
  if (c.g)
    bits |= LED_G(led);
  if (c.b)
    bits |= LED_B(led);
  return bits;
}

/*
 * Annunciator-to-driver/phase mapping.
 *
 * Each annunciator occupies the LED1 position of a specific
 * driver and COM phase:
 *
 *   AM           → driver 0, phase 1 (hour tens, COM-high)
 *   COLON_UPPER  → driver 0, phase 3 (hour ones, COM-high)
 *   COLON_LOWER  → driver 0, phase 2 (hour ones, COM-low)
 *   DASH         → driver 1, phase 1 (min tens, COM-high)
 *   DEGREE       → driver 1, phase 3 (min ones, COM-high)
 */
static const struct {
  uint8_t driver;
  uint8_t phase;
} ANN_MAP[HU058_NUM_ANN] = {
    [HU058_ANN_AM] = {0, 1},          [HU058_ANN_COLON_UPPER] = {0, 3},
    [HU058_ANN_COLON_LOWER] = {0, 2}, [HU058_ANN_DASH] = {1, 1},
    [HU058_ANN_DEGREE] = {1, 3},
};

/*
 * Digit-to-driver mapping.
 * H_TENS and H_ONES are on driver 0 (hours).
 * M_TENS and M_ONES are on driver 1 (minutes).
 */
static const uint8_t DIGIT_DRIVER[HU058_NUM_DIGITS] = {0, 0, 1, 1};

/*
 * Digit-to-block mapping within a driver.
 * Tens digits use block 0 (COM phases 0-1, 0x30/0xC0).
 * Ones digits use block 1 (COM phases 2-3, 0x03/0x0C).
 */
static const uint8_t DIGIT_BLOCK[HU058_NUM_DIGITS] = {0, 1, 0, 1};

void hu058_init(hu058_display_t *disp, aip33628_t *drv_h, aip33628_t *drv_m) {
  memset(disp, 0, sizeof(*disp));

  disp->drv[0] = drv_h;
  disp->drv[1] = drv_m;

  for (int i = 0; i < HU058_NUM_DIGITS; i++)
    disp->digit_color[i] = HU058_COLOR_WHITE;

  for (int i = 0; i < HU058_NUM_ANN; i++)
    disp->ann_color[i] = HU058_COLOR_WHITE;

  disp->current = 8;
  disp->scan_phase = 0;

  for (int i = 0; i < 4; i++)
    disp->com_buf[i] = COM_PAIRS[i];
}

void hu058_set_digit(hu058_display_t *disp, enum hu058_pos pos, uint8_t value) {
  disp->digits[pos] = (value < 10) ? FONT[value] : 0;
}

void hu058_set_segments(hu058_display_t *disp, enum hu058_pos pos,
                        uint8_t segs) {
  disp->digits[pos] = segs & 0x7F;
}

void hu058_set_digit_color(hu058_display_t *disp, enum hu058_pos pos,
                           hu058_color_t color) {
  disp->digit_color[pos] = color;
}

void hu058_set_ann(hu058_display_t *disp, enum hu058_ann ann, bool on) {
  disp->ann[ann] = on;
}

void hu058_set_ann_color(hu058_display_t *disp, enum hu058_ann ann,
                         hu058_color_t color) {
  disp->ann_color[ann] = color;
}

void hu058_set_brightness(hu058_display_t *disp, uint8_t level) {
  disp->current = (level > 15) ? 15 : level;
}

void hu058_set_time_format(hu058_display_t *disp, enum hu058_time_format fmt) {
  disp->time_format = fmt;
}

void hu058_set_time(hu058_display_t *disp, uint8_t hours, uint8_t minutes) {
  bool am = true;

  if (disp->time_format == HU058_12H) {
    if (hours == 0) {
      hours = 12;
      am = true;
    } else if (hours < 12) {
      am = true;
    } else if (hours == 12) {
      am = false;
    } else {
      hours -= 12;
      am = false;
    }
    disp->ann[HU058_ANN_AM] = am;
  } else {
    disp->ann[HU058_ANN_AM] = false;
  }

  uint8_t h_tens = hours / 10;
  uint8_t h_ones = hours % 10;
  uint8_t m_tens = minutes / 10;
  uint8_t m_ones = minutes % 10;

  disp->digits[HU058_H_TENS] = (h_tens > 0) ? FONT[h_tens] : 0;
  disp->digits[HU058_H_ONES] = FONT[h_ones];
  disp->digits[HU058_M_TENS] = FONT[m_tens];
  disp->digits[HU058_M_ONES] = FONT[m_ones];
}

void hu058_set_temperature(hu058_display_t *disp, int16_t temp,
                           bool fahrenheit) {
  if (temp < -99)
    temp = -99;
  if (temp > 999)
    temp = 999;

  disp->ann[HU058_ANN_DEGREE] = true;
  disp->digits[HU058_M_ONES] = fahrenheit ? SEG_LETTER_F : SEG_LETTER_C;

  bool negative = (temp < 0);
  uint16_t abs_temp = negative ? (uint16_t)(-temp) : (uint16_t)temp;

  uint8_t ones = abs_temp % 10;
  uint8_t tens = (abs_temp / 10) % 10;
  uint8_t hundreds = (abs_temp / 100) % 10;

  disp->digits[HU058_M_TENS] = FONT[ones];

  if (negative) {
    if (tens > 0) {
      disp->digits[HU058_H_ONES] = FONT[tens];
      disp->digits[HU058_H_TENS] = SEG_MINUS;
    } else {
      disp->digits[HU058_H_ONES] = SEG_MINUS;
      disp->digits[HU058_H_TENS] = 0;
    }
  } else {
    disp->digits[HU058_H_ONES] = (hundreds > 0 || tens > 0) ? FONT[tens] : 0;
    disp->digits[HU058_H_TENS] = (hundreds > 0) ? FONT[hundreds] : 0;
  }
}

/*
 * Compile one digit block's contribution to a COM phase.
 *
 * COM-low phases (0, 2): LED3→G, LED4→F, LED5→E
 * COM-high phases (1, 3): LED2→D, LED3→C, LED4→B, LED5→A
 */
static uint16_t compile_digit(uint8_t segs, hu058_color_t color,
                              bool com_high) {
  uint16_t bits = 0;

  if (!com_high) {
    if (segs & HU058_SEG_G)
      bits |= led_bits(3, color);
    if (segs & HU058_SEG_F)
      bits |= led_bits(4, color);
    if (segs & HU058_SEG_E)
      bits |= led_bits(5, color);
  } else {
    if (segs & HU058_SEG_D)
      bits |= led_bits(2, color);
    if (segs & HU058_SEG_C)
      bits |= led_bits(3, color);
    if (segs & HU058_SEG_B)
      bits |= led_bits(4, color);
    if (segs & HU058_SEG_A)
      bits |= led_bits(5, color);
  }

  return bits;
}

void hu058_compile(hu058_display_t *disp) {
  memset(disp->seg_buf, 0, sizeof(disp->seg_buf));

  for (int d = 0; d < HU058_NUM_DIGITS; d++) {
    uint8_t drv = DIGIT_DRIVER[d];
    uint8_t block = DIGIT_BLOCK[d];
    uint8_t segs = disp->digits[d];
    hu058_color_t col = disp->digit_color[d];

    int phase_low = block * 2;
    int phase_high = block * 2 + 1;

    disp->seg_buf[drv][phase_low] |= compile_digit(segs, col, false);
    disp->seg_buf[drv][phase_high] |= compile_digit(segs, col, true);
  }

  for (int a = 0; a < HU058_NUM_ANN; a++) {
    if (!disp->ann[a])
      continue;
    uint8_t drv = ANN_MAP[a].driver;
    uint8_t phase = ANN_MAP[a].phase;
    disp->seg_buf[drv][phase] |= led_bits(1, disp->ann_color[a]);
  }
}

void hu058_scan_step(hu058_display_t *disp) {
  uint8_t phase = disp->scan_phase;

  aip33628_write(disp->drv[0], disp->seg_buf[0][phase], disp->com_buf[phase],
                 disp->current);
  aip33628_write(disp->drv[1], disp->seg_buf[1][phase], disp->com_buf[phase],
                 disp->current);

  disp->scan_phase = (phase + 1) & 3;
}
```

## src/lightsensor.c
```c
#include "lightsensor.h"
#include <zephyr/kernel.h>

int lightsensor_init(const lightsensor_config_t *cfg)
{
    if (!adc_is_ready_dt(&cfg->adc)) {
        return -ENODEV;
    }
    return adc_channel_setup_dt(&cfg->adc);
}

static uint16_t read_adc(const lightsensor_config_t *cfg)
{
    int16_t buf;
    struct adc_sequence seq = {
        .buffer = &buf,
        .buffer_size = sizeof(buf),
    };

    adc_sequence_init_dt(&cfg->adc, &seq);
    adc_read_dt(&cfg->adc, &seq);

    return (buf < 0) ? 0 : (uint16_t)buf;
}

uint16_t lightsensor_read_raw(const lightsensor_config_t *cfg)
{
    return read_adc(cfg);
}

uint8_t lightsensor_read_brightness(const lightsensor_config_t *cfg,
                                    uint8_t min_level, uint8_t max_level)
{
    if (min_level > 15) min_level = 15;
    if (max_level > 15) max_level = 15;
    if (min_level > max_level) min_level = max_level;

    uint16_t raw = read_adc(cfg);
    int adc_max = BIT(cfg->adc.resolution) - 1;

    uint8_t range = max_level - min_level;
    uint8_t level = min_level + (uint8_t)((uint32_t)(adc_max - raw) * range / adc_max);

    return level;
}
```
